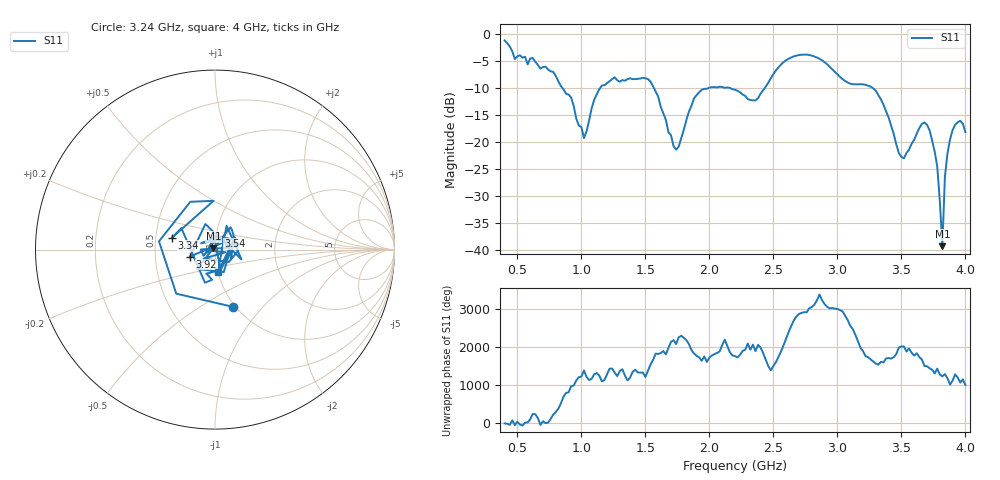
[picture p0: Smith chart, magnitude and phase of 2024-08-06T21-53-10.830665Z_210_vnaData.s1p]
!Created with skrf (http://scikit-rf.org).
# Hz S RI R 50.0
!freq ReS11 ImS11
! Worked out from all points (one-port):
!   181 points, 400 MHz to 4 GHz, reference 50 ohm
!   lowest |S11| = -39.4 dB at 3.82 GHz (marker M1), VSWR 1.02, Z = 49.1 + j0.618 ohm
!   |S11| at or under -10 dB: 852.9 MHz to 1.146 GHz (292.8 MHz wide, 29.3 % of centre); 1.567 GHz to 1.99 GHz (423.3 MHz wide, 23.8 % of centre); 3.279 GHz to end of sweep (the widest 3 of 4)
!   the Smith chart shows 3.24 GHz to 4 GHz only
!   S11 on the Smith chart (normalised r, x): 3.24 GHz: 0.97, -0.70; 3.34 GHz: 0.61, +0.08; 3.54 GHz: 1.03, +0.16; 3.92 GHz: 0.75, -0.06; 4 GHz: 1.00, -0.25
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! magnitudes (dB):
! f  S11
! 400 MHz  -1.1
! 480 MHz  -4.6
! 860 MHz  -10.2
! 920 MHz  -11.7
! 1.02 GHz  -19.3
! 1.14 GHz  -10.2
! 1.3 GHz  -8.8
! 1.54 GHz  -8.8
! 1.72 GHz  -20.8
! 1.76 GHz  -20.9
! 1.92 GHz  -10.8
! 2.2 GHz  -10.3
! 2.36 GHz  -12.3
! 2.66 GHz  -4.1
! 3.1 GHz  -9.2
! 3.24 GHz  -9.5
! 3.34 GHz  -12.1
! 3.48 GHz  -22.1
! 3.54 GHz  -22.0
! 3.56 GHz  -21.4
! 3.66 GHz  -16.6
! 3.72 GHz  -17.8
! 3.78 GHz  -24.5
! 3.82 GHz  -39.4
! 3.84 GHz  -26.5
! 3.88 GHz  -19.5
! 3.92 GHz  -16.8
! 4 GHz  -18.2
